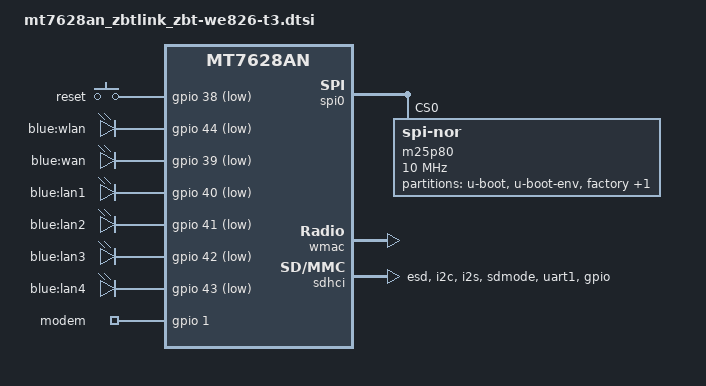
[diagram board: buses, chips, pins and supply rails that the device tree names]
#include "mt7628an.dtsi"
#include <dt-bindings/gpio/gpio.h>
#include <dt-bindings/input/input.h>
#include <dt-bindings/leds/common.h>

/ {
	compatible = "zbtlink,zbt-we826-t3", "mediatek,mt7628an-soc";

	aliases {
		led-boot = &led_wlan;
		led-failsafe = &led_wlan;
		led-running = &led_wlan;
		led-upgrade = &led_wlan;
	};
	
	chosen {
		bootargs = "console=ttyS0,115200";
	};

	keys {
		compatible = "gpio-keys-polled";
		poll-interval = <20>;

		reset {
			label = "reset";
			gpios = <&gpio 38 GPIO_ACTIVE_LOW>;
			linux,code = <KEY_RESTART>;
		};
	};


	switch0: switch@10110000 {
		compatible = "mediatek,mt7628-esw";
		reg = <0x10110000 0x8000>;

		resets = <&sysc 23>, <&sysc 24>;
		reset-names = "esw", "ephy";

		ethernet-ports {
			#address-cells = <1>;
			#size-cells = <0>;

			ethernet-port@0 {
				reg = <0>;
				label = "lan4";
				phy-mode = "internal";
			};

			ethernet-port@1 {
				reg = <1>;
				label = "lan3";
				phy-mode = "internal";
			};

			ethernet-port@2 {
				reg = <2>;
				label = "lan2";
				phy-mode = "internal";
			};

			ethernet-port@3 {
				reg = <3>;
				label = "lan1";
				phy-mode = "internal";
			};

			ethernet-port@4 {
				reg = <4>;
				label = "wan";
				phy-mode = "internal";
			};

			ethernet-port@6 {
				reg = <6>;
				phy-mode = "internal";
				ethernet = <&ethernet>;

				fixed-link {
					speed = <1000>;
					full-duplex;
				};
			};
		};
	};

	leds {
		compatible = "gpio-leds";

		led_wlan: wlan {
			label = "blue:wlan";
			gpios = <&gpio 44 GPIO_ACTIVE_LOW>;
			linux-default-trigger = "phy0pt";
		};

		wan {
			label = "blue:wan";
			gpios = <&gpio 39 GPIO_ACTIVE_LOW>;
		};

		lan1 {
			label = "blue:lan1";
			gpios = <&gpio 40 GPIO_ACTIVE_LOW>;
		};

		lan2 {
			label = "blue:lan2";
			gpios = <&gpio 41 GPIO_ACTIVE_LOW>;
		};

		lan3 {
			label = "blue:lan3";
			gpios = <&gpio 42 GPIO_ACTIVE_LOW>;
		};

		lan4 {
			label = "blue:lan4";
			gpios = <&gpio 43 GPIO_ACTIVE_LOW>;
		};
	};

	// Maybe unused
	/*
	watchdog {
		compatible = "linux,wdt-gpio";
		gpios = <&gpio 37 GPIO_ACTIVE_LOW>;
		hw_algo = "toggle";
		// hw_margin_ms is actually ~120s but driver limits it to 60s
		hw_margin_ms = <60000>;
		always-running;
	};
	*/

	// mPCIe modem power
	gpio-export {
		compatible = "gpio-export";
		#size-cells = <0>;

		modem {
			gpio-export,name = "modem";
			gpio-export,output = <1>;
			gpios = <&gpio 1 GPIO_ACTIVE_HIGH>;
		};
	};

};
// disable PCIE
/*
&pcie {
	status = "okay";
};
*/

&spi0 {
	status = "okay";

	m25p80@0 {
		compatible = "jedec,spi-nor";
		reg = <0>;
		spi-max-frequency = <10000000>;

		partitions {
			compatible = "fixed-partitions";
			#address-cells = <1>;
			#size-cells = <1>;

			partition@0 {
				label = "u-boot";
				reg = <0x0 0x30000>;
				read-only;
			};

			partition@30000 {
				label = "u-boot-env";
				reg = <0x30000 0x10000>;
				read-only;
			};

			partition@40000 {
				label = "factory";
				reg = <0x40000 0x10000>;
				read-only;

				nvmem-layout {
					compatible = "fixed-layout";
					#address-cells = <1>;
					#size-cells = <1>;

					eeprom_factory_0: eeprom@0 {
						reg = <0x0 0x400>;
					};

					macaddr_factory_4: macaddr@4 {
						reg = <0x4 0x6>;
					};
				};
			};

			firmware: partition@50000 {
				compatible = "denx,uimage";
				label = "firmware";
			};
		};
	};
};

/delete-node/ &esw;

&ethernet {
	nvmem-cells = <&macaddr_factory_4>;
	nvmem-cell-names = "mac-address";
	mediatek,switch = <&switch0>;
	resets = <&sysc 21>;
	reset-names = "fe";
};

&wmac {
	status = "okay";
	nvmem-cells = <&eeprom_factory_0>;
	nvmem-cell-names = "eeprom";
	
};

&sdhci {
        status = "okay";
        pinctrl-0 = <&sdxc_router_pins>;
};

// SDHC Card use UART1 I2C and I2S lines
&pinctrl {
	ephy-analog;
	
	sdxc_router_pins: sdxc_router_mode {
		gpio {
			groups = "esd", "i2c", "i2s", "sdmode", "uart1", "gpio";
			function = "gpio";
		};

	};
};

&state_default {
	gpio {
		groups = "p0led_an", "p1led_an", "p2led_an", "p3led_an", "p4led_an", "wdt", "wled_an";
		function = "gpio";
	};
};

